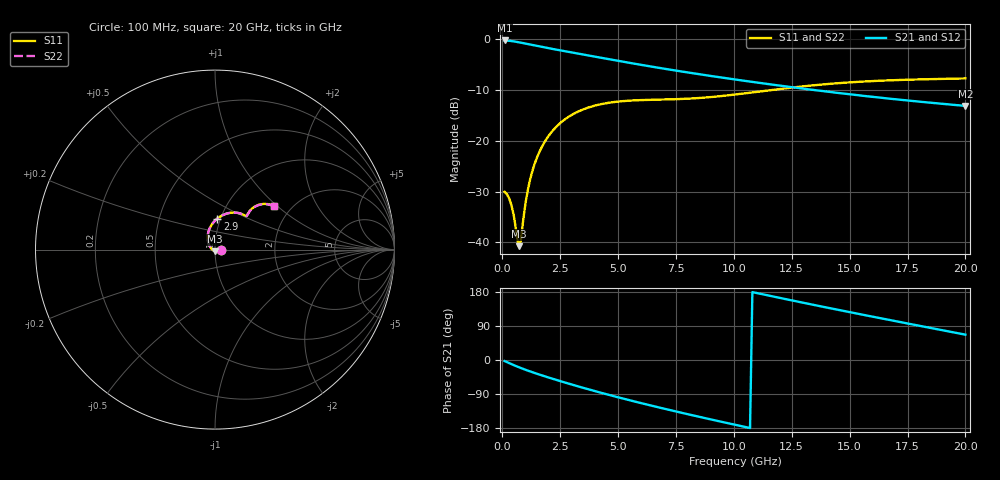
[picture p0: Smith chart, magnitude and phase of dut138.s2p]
! Touchstone file exported from HFSS 2023.1.0
!  File:  D:/Users/fzz/RDL_TSV/temp_RDL_TSV_138_1778751834.aedt
!  Generated:  5:56:37 %x4E0B%x5348  5%x6708 14, 2026
!  Design:  RDL_TSV
!  Project:  temp_RDL_TSV_138_1778751834
!  Setup:  Setup1
!  Solution:  Sweep
! Variables:
!  dtsv = 25.8um
!  hbump = 3um
!  htsv = 69.62um
!  ldown = 402.18um
!  lrdl = 559.23um
!  p = 40
!  p1 = 58.43um
!  rhole = 10um
!  subl = 3443.46um
!  t = 450um
!  tdown = 3.64um
!  trdl = 2.33um
!  viad = 10um
!  wdown = 12.36um
!  wrdl = 14.3um
!  xbump = 18um
# GHz S MA R 50.000000
! Terminal data exported
! Port[1] = TM1_1_T1
! Port[2] = TM1_4_T1
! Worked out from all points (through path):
!   200 points, 100 MHz to 20 GHz, reference 50 ohm
!   highest |S21| = -0.29 dB at 100 MHz (marker M1); lowest = -13.2 dB at 20 GHz (marker M2)
!   group delay of S21, straight-line fit = 38.7 ps
!   lowest |S11| = -40.8 dB at 700 MHz (marker M3), VSWR 1.02, Z = 49.8 - j0.894 ohm
!   |S11| at or under -10 dB: start of sweep to 11.69 GHz
!   |S22| runs from -40.8 to -7.8 dB; largest |S21 - S12| = 4.1e-14
!   S11 on the Smith chart (normalised r, x): 100 MHz: 1.06, -0.01; 2.9 GHz: 0.97, +0.35; 20 GHz: 1.62, +0.96
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0.1  0.03144 -7.0  0.9669 -2.8  0.9669 -2.8  0.03144 -7.0
! Gamma 0 0 0 0
! Port Impedance 50 0 50 0
0.3  0.02694 -22.8  0.9597 -8.4  0.9597 -8.4  0.02694 -22.8
0.4  0.02299 -32.5  0.9537 -11.0  0.9537 -11.0  0.02299 -32.5
0.5  0.01816 -45.0  0.9464 -13.7  0.9464 -13.7  0.01816 -45.0
0.7  0.009172 -101.8  0.9292 -18.7  0.9292 -18.7  0.009169 -101.8
0.8  0.01038 -153.5  0.9198 -21.1  0.9198 -21.1  0.01038 -153.5
1  0.02409 160.1  0.9005 -25.7  0.9005 -25.7  0.02408 160.1
1.1  0.03256 149.9  0.8908 -28.0  0.8908 -28.0  0.03255 149.9
1.3  0.05036 136.2  0.8718 -32.3  0.8718 -32.3  0.05035 136.2
1.5  0.0684 126.2  0.8535 -36.4  0.8535 -36.4  0.06839 126.2
1.8  0.09474 114.5  0.8277 -42.4  0.8277 -42.4  0.09472 114.5
2.1  0.1193 104.9  0.8034 -48.2  0.8034 -48.2  0.1193 105.0
2.9  0.1737 85.7  0.744 -63.0  0.744 -63.0  0.1738 85.7
3.5  0.2033 74.9  0.7026 -73.6  0.7026 -73.6  0.2034 74.9
5.1  0.2436 56.2  0.604 -100.0  0.604 -100.0  0.2439 56.2
6.8  0.2534 47.9  0.5184 -125.7  0.5184 -125.7  0.2539 47.8
8.4  0.2618 47.0  0.4539 -148.5  0.4539 -148.5  0.2623 46.8
10.1  0.285 48.0  0.3981 -171.6  0.3981 -171.6  0.2852 47.8
11.8  0.3185 47.6  0.3522 166.2  0.3522 166.2  0.3184 47.4
13.4  0.3497 45.6  0.316 146.0  0.316 146.0  0.3493 45.4
16.7  0.3919 40.1  0.2592 105.9  0.2592 105.9  0.391 39.9
20  0.4092 36.9  0.2198 66.9  0.2198 66.9  0.4082 36.7
